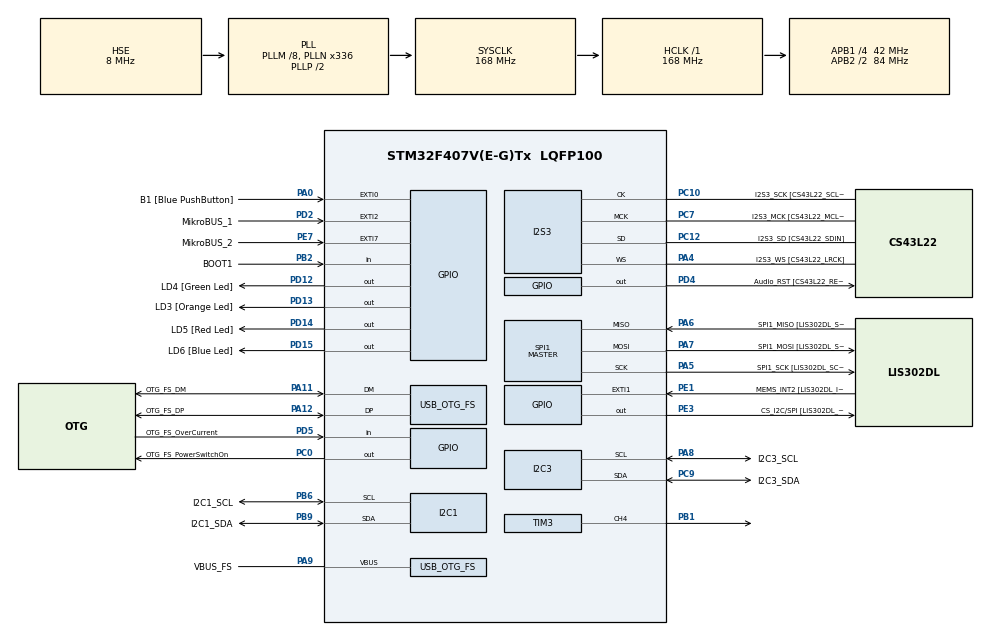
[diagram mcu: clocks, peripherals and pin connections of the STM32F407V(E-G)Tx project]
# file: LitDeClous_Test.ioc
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I2S3.AudioFreq-Half_Duplex_Master=I2S_AUDIOFREQ_96K
I2S3.ErrorAudioFreq=-2.34 %
I2S3.ErrorAudioFreq-Half_Duplex_Master=0.8 %
I2S3.FullDuplexMode=I2S_FULLDUPLEXMODE_DISABLE
I2S3.Instance=SPI$Index
I2S3.RealAudioFreq=93.75 KHz
I2S3.RealAudioFreq-Half_Duplex_Master=96.774 KHz
I2S3.VirtualMode=I2S_MODE_MASTER
Mcu.Family=STM32F4
Mcu.Name=STM32F407V(E-G)Tx
Mcu.Package=LQFP100
NVIC.EXTI2_IRQn=true\:0\:0\:false\:false\:true\:true\:true\:true
NVIC.EXTI9_5_IRQn=true\:0\:0\:false\:false\:true\:true\:true\:true
NVIC.OTG_FS_IRQn=true\:0\:0\:false\:false\:true\:true\:true\:true
NVIC.PriorityGroup=NVIC_PRIORITYGROUP_0
PA0-WKUP.GPIO_Label=B1 [Blue PushButton]
PA0-WKUP.GPIO_ModeDefaultEXTI=GPIO_MODE_EVT_RISING
PA0-WKUP.GPIO_PuPd=GPIO_NOPULL
PA0-WKUP.Signal=GPXTI0
PA10.GPIO_Label=OTG_FS_ID
PA10.GPIO_Mode=GPIO_MODE_AF_PP
PA10.GPIO_PuPd=GPIO_NOPULL
PA10.GPIO_Speed=GPIO_SPEED_FREQ_LOW
PA10.Signal=USB_OTG_FS_ID
PA11.GPIO_Label=OTG_FS_DM
PA11.GPIO_Mode=GPIO_MODE_AF_PP
PA11.GPIO_PuPd=GPIO_NOPULL
PA11.GPIO_Speed=GPIO_SPEED_FREQ_LOW
PA11.Mode=Device_Only
PA11.Signal=USB_OTG_FS_DM
PA12.GPIO_Label=OTG_FS_DP
PA12.GPIO_Mode=GPIO_MODE_AF_PP
PA12.GPIO_PuPd=GPIO_NOPULL
PA12.GPIO_Speed=GPIO_SPEED_FREQ_LOW
PA12.Mode=Device_Only
PA12.Signal=USB_OTG_FS_DP
PA13.GPIO_Label=SWDIO
PA13.Mode=Serial_Wire
PA13.Signal=SYS_JTMS-SWDIO
PA14.GPIO_Label=SWCLK
PA14.Mode=Serial_Wire
PA14.Signal=SYS_JTCK-SWCLK
PA4.GPIO_Label=I2S3_WS [CS43L22_LRCK]
PA4.GPIO_Mode=GPIO_MODE_AF_PP
PA4.GPIO_PuPd=GPIO_NOPULL
PA4.GPIO_Speed=GPIO_SPEED_FREQ_LOW
PA4.Mode=Half_Duplex_Master
PA4.Signal=I2S3_WS
PA5.GPIO_Label=SPI1_SCK [LIS302DL_SCL/SPC]
PA5.GPIO_Mode=GPIO_MODE_AF_PP
PA5.GPIO_PuPd=GPIO_NOPULL
PA5.GPIO_Speed=GPIO_SPEED_FREQ_LOW
PA5.Mode=Full_Duplex_Master
PA5.Signal=SPI1_SCK
PA6.GPIO_Label=SPI1_MISO [LIS302DL_SDO]
PA6.GPIO_Mode=GPIO_MODE_AF_PP
PA6.GPIO_PuPd=GPIO_NOPULL
PA6.GPIO_Speed=GPIO_SPEED_FREQ_LOW
PA6.Mode=Full_Duplex_Master
PA6.Signal=SPI1_MISO
PA7.GPIO_Label=SPI1_MOSI [LIS302DL_SDA/SDI/SDO]
PA7.GPIO_Mode=GPIO_MODE_AF_PP
PA7.GPIO_PuPd=GPIO_NOPULL
PA7.GPIO_Speed=GPIO_SPEED_FREQ_LOW
PA7.Mode=Full_Duplex_Master
PA7.Signal=SPI1_MOSI
PA8.GPIO_Label=I2C3_SCL
PA8.GPIO_Pu=GPIO_NOPULL
PA8.GPIO_Speed=GPIO_SPEED_FREQ_LOW
PA8.Mode=I2C
PA8.Signal=I2C3_SCL
PA9.GPIO_Label=VBUS_FS
PA9.GPIO_Mode=GPIO_MODE_INPUT
PA9.GPIO_PuPd=GPIO_NOPULL
PA9.Mode=Activate_VBUS
PA9.Signal=USB_OTG_FS_VBUS
PB1.Signal=S_TIM3_CH4
PB10.GPIO_Label=CLK_IN [MP45DT02_CLK]
PB10.GPIO_Mode=GPIO_MODE_AF_PP
PB10.GPIO_PuPd=GPIO_NOPULL
PB10.GPIO_Speed=GPIO_SPEED_FREQ_LOW
PB10.Signal=I2S2_CK
PB2.GPIO_Label=BOOT1
PB2.GPIO_Mode=GPIO_MODE_INPUT
PB2.GPIO_PuPd=GPIO_NOPULL
PB2.Signal=GPIO_Input
PB3.GPIO_Label=SWO
PB3.Signal=SYS_JTDO-SWO
PB6.GPIO_Label=I2C1_SCL
PB6.GPIO_Mode=GPIO_MODE_AF_OD
PB6.GPIO_Pu=GPIO_NOPULL
PB6.GPIO_PuPd=GPIO_NOPULL
PB6.GPIO_Speed=GPIO_SPEED_FREQ_LOW
PB6.Mode=I2C
PB6.Signal=I2C1_SCL
PB9.GPIO_Label=I2C1_SDA
PB9.GPIO_Mode=GPIO_MODE_AF_OD
PB9.GPIO_Pu=GPIO_NOPULL
PB9.GPIO_PuPd=GPIO_NOPULL
PB9.GPIO_Speed=GPIO_SPEED_FREQ_LOW
PB9.Mode=I2C
PB9.Signal=I2C1_SDA
PC0.GPIO_Label=OTG_FS_PowerSwitchOn
PC0.GPIO_PuPd=GPIO_NOPULL
PC0.GPIO_Speed=GPIO_SPEED_FREQ_LOW
PC0.PinState=GPIO_PIN_SET
PC0.Signal=GPIO_Output
PC10.GPIO_Label=I2S3_SCK [CS43L22_SCLK]
PC10.GPIO_Mode=GPIO_MODE_AF_PP
PC10.GPIO_PuPd=GPIO_NOPULL
PC10.GPIO_Speed=GPIO_SPEED_FREQ_LOW
PC10.Mode=Half_Duplex_Master
PC10.Signal=I2S3_CK
PC12.GPIO_Label=I2S3_SD [CS43L22_SDIN]
PC12.GPIO_Mode=GPIO_MODE_AF_PP
PC12.GPIO_PuPd=GPIO_NOPULL
PC12.GPIO_Speed=GPIO_SPEED_FREQ_LOW
PC12.Mode=Half_Duplex_Master
PC12.Signal=I2S3_SD
PC14-OSC32_IN.GPIO_Label=PC14-OSC32_IN
PC14-OSC32_IN.Mode=LSE-External-Oscillator
PC14-OSC32_IN.Signal=RCC_OSC32_IN
PC15-OSC32_OUT.GPIO_Label=PC15-OSC32_OUT
PC15-OSC32_OUT.Mode=LSE-External-Oscillator
PC15-OSC32_OUT.Signal=RCC_OSC32_OUT
PC3.GPIO_Label=PDM_OUT [MP45DT02_DOUT]
PC3.GPIO_Mode=GPIO_MODE_AF_PP
PC3.GPIO_PuPd=GPIO_NOPULL
PC3.GPIO_Speed=GPIO_SPEED_FREQ_LOW
PC3.Signal=I2S2_SD
PC7.GPIO_Label=I2S3_MCK [CS43L22_MCLK]
PC7.GPIO_Mode=GPIO_MODE_AF_PP
PC7.GPIO_PuPd=GPIO_NOPULL
PC7.GPIO_Speed=GPIO_SPEED_FREQ_LOW
PC7.Mode=Master_Clock_Activated
PC7.Signal=I2S3_MCK
PC9.GPIO_Label=I2C3_SDA
PC9.GPIO_Speed=GPIO_SPEED_FREQ_LOW
PC9.Mode=I2C
PC9.Signal=I2C3_SDA
PD12.GPIO_Label=LD4 [Green Led]
PD12.GPIO_PuPd=GPIO_NOPULL
PD12.GPIO_Speed=GPIO_SPEED_FREQ_LOW
PD12.Signal=GPIO_Output
PD13.GPIO_Label=LD3 [Orange Led]
PD13.GPIO_PuPd=GPIO_NOPULL
PD13.GPIO_Speed=GPIO_SPEED_FREQ_LOW
PD13.Signal=GPIO_Output
PD14.GPIO_Label=LD5 [Red Led]
PD14.GPIO_PuPd=GPIO_NOPULL
PD14.GPIO_Speed=GPIO_SPEED_FREQ_LOW
PD14.Signal=GPIO_Output
PD15.GPIO_Label=LD6 [Blue Led]
PD15.GPIO_PuPd=GPIO_NOPULL
PD15.GPIO_Speed=GPIO_SPEED_FREQ_LOW
PD15.Signal=GPIO_Output
PD2.GPIO_Label=MikroBUS_1
PD2.GPIO_ModeDefaultEXTI=GPIO_MODE_IT_FALLING
PD2.Signal=GPXTI2
PD4.GPIO_Label=Audio_RST [CS43L22_RESET]
PD4.GPIO_PuPd=GPIO_NOPULL
PD4.GPIO_Speed=GPIO_SPEED_FREQ_LOW
PD4.Signal=GPIO_Output
PD5.GPIO_Label=OTG_FS_OverCurrent
PD5.GPIO_Mode=GPIO_MODE_INPUT
PD5.GPIO_PuPd=GPIO_NOPULL
PD5.Signal=GPIO_Input
PE1.GPIO_Label=MEMS_INT2 [LIS302DL_INT2]
PE1.GPIO_ModeDefaultEXTI=GPIO_MODE_EVT_RISING
PE1.GPIO_PuPd=GPIO_NOPULL
PE1.Signal=GPXTI1
PE3.GPIO_Label=CS_I2C/SPI [LIS302DL_CS_I2C/SPI]
PE3.GPIO_PuPd=GPIO_NOPULL
PE3.GPIO_Speed=GPIO_SPEED_FREQ_LOW
PE3.Signal=GPIO_Output
PE7.GPIO_Label=MikroBUS_2
PE7.GPIO_ModeDefaultEXTI=GPIO_MODE_IT_FALLING
PE7.Signal=GPXTI7
PH0-OSC_IN.GPIO_Label=PH0-OSC_IN
PH0-OSC_IN.Mode=HSE-External-Oscillator
PH0-OSC_IN.Signal=RCC_OSC_IN
PH1-OSC_OUT.GPIO_Label=PH1-OSC_OUT
PH1-OSC_OUT.Mode=HSE-External-Oscillator
PH1-OSC_OUT.Signal=RCC_OSC_OUT
ProjectManager.HeapSize=0x200
ProjectManager.StackSize=0x400
ProjectManager.TargetToolchain=STM32CubeIDE
RCC.48MHZClocksFreq_Value=48000000
RCC.AHBFreq_Value=168000000
RCC.APB1CLKDivider=RCC_HCLK_DIV4
RCC.APB1Freq_Value=42000000
RCC.APB1TimFreq_Value=84000000
RCC.APB2CLKDivider=RCC_HCLK_DIV2
RCC.APB2Freq_Value=84000000
RCC.APB2TimFreq_Value=168000000
RCC.CortexFreq_Value=168000000
RCC.HCLKFreq_Value=168000000
RCC.HSE_VALUE=8000000
RCC.HSI_VALUE=16000000
RCC.PLLM=8
RCC.PLLN=336
RCC.PLLQ=7
RCC.SYSCLKFreq_VALUE=168000000
RCC.SYSCLKSource=RCC_SYSCLKSOURCE_PLLCLK
RCC.VCOOutputFreq_Value=336000000
SH.S_TIM3_CH4.0=TIM3_CH4,PWM Generation4 CH4
SPI1.BaudRatePrescaler-Full_Duplex_Master=SPI_BAUDRATEPRESCALER_2
SPI1.CalculateBaudRate-Full_Duplex_Master=42.0 MBits/s
SPI1.Direction=SPI_DIRECTION_2LINES
SPI1.Mode=SPI_MODE_MASTER
SPI1.Mode-Full_Duplex_Master=SPI_MODE_MASTER
SPI1.VirtualType=VM_MASTER
TIM3.Channel-PWM\ Generation4\ CH4=TIM_CHANNEL_4
TIM3.Period=999
TIM3.Prescaler=83
TIM3.Pulse-PWM\ Generation4\ CH4=500
USB_DEVICE.CLASS_NAME_FS=CDC
USB_DEVICE.VirtualMode-CDC_FS=Cdc
USB_DEVICE.VirtualModeFS=Cdc_FS
USB_OTG_FS.VirtualMode=Device_Only
VP_TIM3_VS_ClockSourceINT.Mode=Internal
VP_USB_DEVICE_VS_USB_DEVICE_CDC_FS.Mode=CDC_FS
board=STM32F407G-DISC1

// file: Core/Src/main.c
/* USER CODE BEGIN Header */
/**
  ******************************************************************************
  * @file           : main.c
  * @brief          : Main program body
  ******************************************************************************
  * @attention
  *
  * Copyright (c) 2026 STMicroelectronics.
  * All rights reserved.
  *
  * This software is licensed under terms that can be found in the LICENSE file
  * in the root directory of this software component.
  * If no LICENSE file comes with this software, it is provided AS-IS.
  *
  ******************************************************************************
  */
/* USER CODE END Header */
#include "main.h"
#include "usb_device.h"

/* USER CODE BEGIN Includes */
#include "usbd_cdc_if.h"
#include <string.h>
#include "command_handler.h"
#include "tca6416a.h"
#include "clickboard_io_mux.h"
#include "mcp3423.h"

/* USER CODE END Includes */

I2C_HandleTypeDef hi2c1;
I2C_HandleTypeDef hi2c3;

I2S_HandleTypeDef hi2s3;

SPI_HandleTypeDef hspi1;

TIM_HandleTypeDef htim3;

/* USER CODE BEGIN PV */
uint8_t rx_buffer[64];
uint32_t rx_length = 0;

volatile uint8_t tca_pwm_interrupt = 0;

TCA6416A_HandleTypeDef tca_adc;
ClickBoard_HandleTypeDef clickboard_pwm;
ClickBoard_HandleTypeDef clickboard_adc;
MCP3423_HandleTypeDef mcp3423_adc;

int32_t adc_raw = 0;
HAL_StatusTypeDef adc_status = HAL_ERROR;

/* USER CODE END PV */

void SystemClock_Config(void);
static void MX_GPIO_Init(void);
static void MX_I2C1_Init(void);
static void MX_I2S3_Init(void);
static void MX_SPI1_Init(void);
static void MX_I2C3_Init(void);
static void MX_TIM3_Init(void);

/* USER CODE BEGIN 0 */

HAL_StatusTypeDef PWM_SetFrequency(uint32_t frequency)
{
    if (frequency < 1 || frequency > 10000)
    {
        return HAL_ERROR;
    }

    const uint32_t timer_clock = 84000000;
    const uint32_t timer_tick = 100000;

    uint32_t prescaler = (timer_clock / timer_tick) - 1;
    uint32_t period = (timer_tick / frequency) - 1;

    uint32_t old_period = __HAL_TIM_GET_AUTORELOAD(&htim3);
    uint32_t old_pulse = __HAL_TIM_GET_COMPARE(&htim3, TIM_CHANNEL_4);

    uint32_t new_pulse =
        (uint32_t)(((uint64_t)old_pulse * (period + 1)) /
                   (old_period + 1));

    __HAL_TIM_DISABLE(&htim3);

    __HAL_TIM_SET_PRESCALER(&htim3, prescaler);
    __HAL_TIM_SET_AUTORELOAD(&htim3, period);
    __HAL_TIM_SET_COMPARE(&htim3, TIM_CHANNEL_4, new_pulse);
    __HAL_TIM_SET_COUNTER(&htim3, 0);

    HAL_TIM_GenerateEvent(&htim3, TIM_EVENTSOURCE_UPDATE);

    __HAL_TIM_ENABLE(&htim3);

    return HAL_OK;
}

/* USER CODE END 0 */

int main(void)
{

  /* MCU Configuration--------------------------------------------------------*/

  /* Reset of all peripherals, Initializes the Flash interface and the Systick. */
  HAL_Init();

  /* Configure the system clock */
  SystemClock_Config();

  /* Initialize all configured peripherals */
  MX_GPIO_Init();
  MX_I2C1_Init();
  MX_I2S3_Init();
  MX_SPI1_Init();
  MX_USB_DEVICE_Init();
  MX_I2C3_Init();
  MX_TIM3_Init();
  /* USER CODE BEGIN 2 */

  // Initialiser le TCA6416A de la carte ADC (I2C1)
  if (TCA6416A_Init(&tca_adc, &hi2c1, TCA6416A_ADDR_ADC) == HAL_OK)
  {
      // LED verte : carte ADC détectée
      HAL_GPIO_WritePin(GPIOD, GPIO_PIN_12, GPIO_PIN_SET);
  }

  // Associer le TCA6416A au multiplexeur ADC
  clickboard_adc.tca = tca_adc;

  // Désactiver le multiplexeur avant la configuration
  TCA6416A_WritePin(&clickboard_adc.tca, 11, 1);

  // Configurer P1.0 à P1.3 comme sorties
  for (uint8_t pin = 8; pin <= 11; pin++)
  {
      TCA6416A_PinMode(&clickboard_adc.tca, pin, TCA6416A_OUTPUT);
  }

  // Laisser le TMUX1308 désactivé
  ClickBoard_DisableMux(&clickboard_adc);

  // Initialiser la carte PWM (I2C3)
  if (ClickBoard_InitPWM(&clickboard_pwm, &hi2c3) == HAL_OK)
  {
      // LED orange : carte PWM initialisée
      HAL_GPIO_WritePin(GPIOD, GPIO_PIN_13, GPIO_PIN_SET);

      // Sélectionner S7 et activer le TMUX1308
      if (ClickBoard_SelectChannel(&clickboard_pwm, 7) == HAL_OK)
      {
          // Démarrer le PWM sur PB1 (TIM3_CH4)
          HAL_TIM_PWM_Start(&htim3, TIM_CHANNEL_4);

          // Désactiver le multiplexeur
          //ClickBoard_DisableMux(&clickboard_pwm);
      }
  }

  uint8_t gpio_state;

  TCA6416A_ReadPort(&clickboard_pwm.tca, 0, &gpio_state);

  // Configurer P0.1 comme sortie
  if (TCA6416A_PinMode(&clickboard_pwm.tca, 1, TCA6416A_OUTPUT) == HAL_OK)
  {
      // Mettre P0.1 à l'état haut (3,3 V)
      TCA6416A_WritePin(&clickboard_pwm.tca, 1, 1);
  }

  // Initialiser le MCP3423 de la ClickBoard ADC (I2C1)
  if (MCP3423_Init(&mcp3423_adc, &hi2c1) == HAL_OK)
  {
      if (MCP3423_Configure(
              &mcp3423_adc,
              MCP3423_CHANNEL_1,
			  MCP3423_MODE_ONESHOT,
              MCP3423_RESOLUTION_18BIT) == HAL_OK)
      {
          // LED rouge : MCP3423 initialisé et configuré
          HAL_GPIO_WritePin(GPIOD, GPIO_PIN_14, GPIO_PIN_SET);
      }
  }

  // Attendre la première conversion (12 bits)
  HAL_Delay(20);

  // Lire la valeur brute du MCP3423
  adc_status = MCP3423_ReadRaw(&mcp3423_adc, &adc_raw);

  /* USER CODE END 2 */

  /* Infinite loop */
  /* USER CODE BEGIN WHILE */
  while (1)
  {
	  CommandHandler_Task();

	  if (!CommandHandler_IsResponsePending())
	  {
	      if (USB_ReadCommand(rx_buffer, &rx_length))
	      {
	          CommandHandler_Process(rx_buffer, rx_length);
	      }
	  }

	  if (tca_pwm_interrupt)
	  {
	      tca_pwm_interrupt = 0;

	      uint8_t gpio_state;

	      if (TCA6416A_ReadPort(&clickboard_pwm.tca, 0, &gpio_state) == HAL_OK)
	      {
	          // LED bleue allumée si P0.0 est à 0
	          if ((gpio_state & 0x01) == 0)
	          {
	              HAL_GPIO_WritePin(GPIOD, GPIO_PIN_15, GPIO_PIN_SET);
	          }
	          else
	          {
	              HAL_GPIO_WritePin(GPIOD, GPIO_PIN_15, GPIO_PIN_RESET);
	          }
	      }
	  }

	  HAL_Delay(1);

    /* USER CODE END WHILE */

  }
}

void SystemClock_Config(void)
{
  RCC_OscInitTypeDef RCC_OscInitStruct = {0};
  RCC_ClkInitTypeDef RCC_ClkInitStruct = {0};

  /** Configure the main internal regulator output voltage
  */
  __HAL_RCC_PWR_CLK_ENABLE();
  __HAL_PWR_VOLTAGESCALING_CONFIG(PWR_REGULATOR_VOLTAGE_SCALE1);

  /** Initializes the RCC Oscillators according to the specified parameters
  * in the RCC_OscInitTypeDef structure.
  */
  RCC_OscInitStruct.OscillatorType = RCC_OSCILLATORTYPE_HSE;
  RCC_OscInitStruct.HSEState = RCC_HSE_ON;
  RCC_OscInitStruct.PLL.PLLState = RCC_PLL_ON;
  RCC_OscInitStruct.PLL.PLLSource = RCC_PLLSOURCE_HSE;
  RCC_OscInitStruct.PLL.PLLM = 8;
  RCC_OscInitStruct.PLL.PLLN = 336;
  RCC_OscInitStruct.PLL.PLLP = RCC_PLLP_DIV2;
  RCC_OscInitStruct.PLL.PLLQ = 7;
  if (HAL_RCC_OscConfig(&RCC_OscInitStruct) != HAL_OK)
  {
    Error_Handler();
  }

  /** Initializes the CPU, AHB and APB buses clocks
  */
  RCC_ClkInitStruct.ClockType = RCC_CLOCKTYPE_HCLK|RCC_CLOCKTYPE_SYSCLK
                              |RCC_CLOCKTYPE_PCLK1|RCC_CLOCKTYPE_PCLK2;
  RCC_ClkInitStruct.SYSCLKSource = RCC_SYSCLKSOURCE_PLLCLK;
  RCC_ClkInitStruct.AHBCLKDivider = RCC_SYSCLK_DIV1;
  RCC_ClkInitStruct.APB1CLKDivider = RCC_HCLK_DIV4;
  RCC_ClkInitStruct.APB2CLKDivider = RCC_HCLK_DIV2;

  if (HAL_RCC_ClockConfig(&RCC_ClkInitStruct, FLASH_LATENCY_5) != HAL_OK)
  {
    Error_Handler();
  }
}

static void MX_I2C1_Init(void)
{

  hi2c1.Instance = I2C1;
  hi2c1.Init.ClockSpeed = 100000;
  hi2c1.Init.DutyCycle = I2C_DUTYCYCLE_2;
  hi2c1.Init.OwnAddress1 = 0;
  hi2c1.Init.AddressingMode = I2C_ADDRESSINGMODE_7BIT;
  hi2c1.Init.DualAddressMode = I2C_DUALADDRESS_DISABLE;
  hi2c1.Init.OwnAddress2 = 0;
  hi2c1.Init.GeneralCallMode = I2C_GENERALCALL_DISABLE;
  hi2c1.Init.NoStretchMode = I2C_NOSTRETCH_DISABLE;
  if (HAL_I2C_Init(&hi2c1) != HAL_OK)
  {
    Error_Handler();
  }

}

static void MX_I2C3_Init(void)
{

  hi2c3.Instance = I2C3;
  hi2c3.Init.ClockSpeed = 100000;
  hi2c3.Init.DutyCycle = I2C_DUTYCYCLE_2;
  hi2c3.Init.OwnAddress1 = 0;
  hi2c3.Init.AddressingMode = I2C_ADDRESSINGMODE_7BIT;
  hi2c3.Init.DualAddressMode = I2C_DUALADDRESS_DISABLE;
  hi2c3.Init.OwnAddress2 = 0;
  hi2c3.Init.GeneralCallMode = I2C_GENERALCALL_DISABLE;
  hi2c3.Init.NoStretchMode = I2C_NOSTRETCH_DISABLE;
  if (HAL_I2C_Init(&hi2c3) != HAL_OK)
  {
    Error_Handler();
  }

}

static void MX_I2S3_Init(void)
{

  hi2s3.Instance = SPI3;
  hi2s3.Init.Mode = I2S_MODE_MASTER_TX;
  hi2s3.Init.Standard = I2S_STANDARD_PHILIPS;
  hi2s3.Init.DataFormat = I2S_DATAFORMAT_16B;
  hi2s3.Init.MCLKOutput = I2S_MCLKOUTPUT_ENABLE;
  hi2s3.Init.AudioFreq = I2S_AUDIOFREQ_96K;
  hi2s3.Init.CPOL = I2S_CPOL_LOW;
  hi2s3.Init.ClockSource = I2S_CLOCK_PLL;
  hi2s3.Init.FullDuplexMode = I2S_FULLDUPLEXMODE_DISABLE;
  if (HAL_I2S_Init(&hi2s3) != HAL_OK)
  {
    Error_Handler();
  }

}

static void MX_SPI1_Init(void)
{

  /* SPI1 parameter configuration*/
  hspi1.Instance = SPI1;
  hspi1.Init.Mode = SPI_MODE_MASTER;
  hspi1.Init.Direction = SPI_DIRECTION_2LINES;
  hspi1.Init.DataSize = SPI_DATASIZE_8BIT;
  hspi1.Init.CLKPolarity = SPI_POLARITY_LOW;
  hspi1.Init.CLKPhase = SPI_PHASE_1EDGE;
  hspi1.Init.NSS = SPI_NSS_SOFT;
  hspi1.Init.BaudRatePrescaler = SPI_BAUDRATEPRESCALER_2;
  hspi1.Init.FirstBit = SPI_FIRSTBIT_MSB;
  hspi1.Init.TIMode = SPI_TIMODE_DISABLE;
  hspi1.Init.CRCCalculation = SPI_CRCCALCULATION_DISABLE;
  hspi1.Init.CRCPolynomial = 10;
  if (HAL_SPI_Init(&hspi1) != HAL_OK)
  {
    Error_Handler();
  }

}

static void MX_TIM3_Init(void)
{

  TIM_ClockConfigTypeDef sClockSourceConfig = {0};
  TIM_MasterConfigTypeDef sMasterConfig = {0};
  TIM_OC_InitTypeDef sConfigOC = {0};

  htim3.Instance = TIM3;
  htim3.Init.Prescaler = 83;
  htim3.Init.CounterMode = TIM_COUNTERMODE_UP;
  htim3.Init.Period = 999;
  htim3.Init.ClockDivision = TIM_CLOCKDIVISION_DIV1;
  htim3.Init.AutoReloadPreload = TIM_AUTORELOAD_PRELOAD_DISABLE;
  if (HAL_TIM_Base_Init(&htim3) != HAL_OK)
  {
    Error_Handler();
  }
  sClockSourceConfig.ClockSource = TIM_CLOCKSOURCE_INTERNAL;
  if (HAL_TIM_ConfigClockSource(&htim3, &sClockSourceConfig) != HAL_OK)
  {
    Error_Handler();
  }
  if (HAL_TIM_PWM_Init(&htim3) != HAL_OK)
  {
    Error_Handler();
  }
  sMasterConfig.MasterOutputTrigger = TIM_TRGO_RESET;
  sMasterConfig.MasterSlaveMode = TIM_MASTERSLAVEMODE_DISABLE;
  if (HAL_TIMEx_MasterConfigSynchronization(&htim3, &sMasterConfig) != HAL_OK)
  {
    Error_Handler();
  }
  sConfigOC.OCMode = TIM_OCMODE_PWM1;
  sConfigOC.Pulse = 500;
  sConfigOC.OCPolarity = TIM_OCPOLARITY_HIGH;
  sConfigOC.OCFastMode = TIM_OCFAST_DISABLE;
  if (HAL_TIM_PWM_ConfigChannel(&htim3, &sConfigOC, TIM_CHANNEL_4) != HAL_OK)
  {
    Error_Handler();
  }
  HAL_TIM_MspPostInit(&htim3);

}

static void MX_GPIO_Init(void)
{
  GPIO_InitTypeDef GPIO_InitStruct = {0};

  /* GPIO Ports Clock Enable */
  __HAL_RCC_GPIOE_CLK_ENABLE();
  __HAL_RCC_GPIOC_CLK_ENABLE();
  __HAL_RCC_GPIOH_CLK_ENABLE();
  __HAL_RCC_GPIOA_CLK_ENABLE();
  __HAL_RCC_GPIOB_CLK_ENABLE();
  __HAL_RCC_GPIOD_CLK_ENABLE();

  /*Configure GPIO pin Output Level */
  HAL_GPIO_WritePin(CS_I2C_SPI_GPIO_Port, CS_I2C_SPI_Pin, GPIO_PIN_RESET);

  /*Configure GPIO pin Output Level */
  HAL_GPIO_WritePin(OTG_FS_PowerSwitchOn_GPIO_Port, OTG_FS_PowerSwitchOn_Pin, GPIO_PIN_SET);

  /*Configure GPIO pin Output Level */
  HAL_GPIO_WritePin(GPIOD, LD4_Pin|LD3_Pin|LD5_Pin|LD6_Pin
                          |Audio_RST_Pin, GPIO_PIN_RESET);

  /*Configure GPIO pin : CS_I2C_SPI_Pin */
  GPIO_InitStruct.Pin = CS_I2C_SPI_Pin;
  GPIO_InitStruct.Mode = GPIO_MODE_OUTPUT_PP;
  GPIO_InitStruct.Pull = GPIO_NOPULL;
  GPIO_InitStruct.Speed = GPIO_SPEED_FREQ_LOW;
  HAL_GPIO_Init(CS_I2C_SPI_GPIO_Port, &GPIO_InitStruct);

  /*Configure GPIO pin : OTG_FS_PowerSwitchOn_Pin */
  GPIO_InitStruct.Pin = OTG_FS_PowerSwitchOn_Pin;
  GPIO_InitStruct.Mode = GPIO_MODE_OUTPUT_PP;
  GPIO_InitStruct.Pull = GPIO_NOPULL;
  GPIO_InitStruct.Speed = GPIO_SPEED_FREQ_LOW;
  HAL_GPIO_Init(OTG_FS_PowerSwitchOn_GPIO_Port, &GPIO_InitStruct);

  /*Configure GPIO pin : PDM_OUT_Pin */
  GPIO_InitStruct.Pin = PDM_OUT_Pin;
  GPIO_InitStruct.Mode = GPIO_MODE_AF_PP;
  GPIO_InitStruct.Pull = GPIO_NOPULL;
  GPIO_InitStruct.Speed = GPIO_SPEED_FREQ_LOW;
  GPIO_InitStruct.Alternate = GPIO_AF5_SPI2;
  HAL_GPIO_Init(PDM_OUT_GPIO_Port, &GPIO_InitStruct);

  /*Configure GPIO pin : B1_Pin */
  GPIO_InitStruct.Pin = B1_Pin;
  GPIO_InitStruct.Mode = GPIO_MODE_EVT_RISING;
  GPIO_InitStruct.Pull = GPIO_NOPULL;
  HAL_GPIO_Init(B1_GPIO_Port, &GPIO_InitStruct);

  /*Configure GPIO pin : BOOT1_Pin */
  GPIO_InitStruct.Pin = BOOT1_Pin;
  GPIO_InitStruct.Mode = GPIO_MODE_INPUT;
  GPIO_InitStruct.Pull = GPIO_NOPULL;
  HAL_GPIO_Init(BOOT1_GPIO_Port, &GPIO_InitStruct);

  /*Configure GPIO pin : MikroBUS_2_Pin */
  GPIO_InitStruct.Pin = MikroBUS_2_Pin;
  GPIO_InitStruct.Mode = GPIO_MODE_IT_FALLING;
  GPIO_InitStruct.Pull = GPIO_NOPULL;
  HAL_GPIO_Init(MikroBUS_2_GPIO_Port, &GPIO_InitStruct);

  /*Configure GPIO pin : CLK_IN_Pin */
  GPIO_InitStruct.Pin = CLK_IN_Pin;
  GPIO_InitStruct.Mode = GPIO_MODE_AF_PP;
  GPIO_InitStruct.Pull = GPIO_NOPULL;
  GPIO_InitStruct.Speed = GPIO_SPEED_FREQ_LOW;
  GPIO_InitStruct.Alternate = GPIO_AF5_SPI2;
  HAL_GPIO_Init(CLK_IN_GPIO_Port, &GPIO_InitStruct);

  /*Configure GPIO pins : LD4_Pin LD3_Pin LD5_Pin LD6_Pin
                           Audio_RST_Pin */
  GPIO_InitStruct.Pin = LD4_Pin|LD3_Pin|LD5_Pin|LD6_Pin
                          |Audio_RST_Pin;
  GPIO_InitStruct.Mode = GPIO_MODE_OUTPUT_PP;
  GPIO_InitStruct.Pull = GPIO_NOPULL;
  GPIO_InitStruct.Speed = GPIO_SPEED_FREQ_LOW;
  HAL_GPIO_Init(GPIOD, &GPIO_InitStruct);

  /*Configure GPIO pin : MikroBUS_1_Pin */
  GPIO_InitStruct.Pin = MikroBUS_1_Pin;
  GPIO_InitStruct.Mode = GPIO_MODE_IT_FALLING;
  GPIO_InitStruct.Pull = GPIO_NOPULL;
  HAL_GPIO_Init(MikroBUS_1_GPIO_Port, &GPIO_InitStruct);

  /*Configure GPIO pin : OTG_FS_OverCurrent_Pin */
  GPIO_InitStruct.Pin = OTG_FS_OverCurrent_Pin;
  GPIO_InitStruct.Mode = GPIO_MODE_INPUT;
  GPIO_InitStruct.Pull = GPIO_NOPULL;
  HAL_GPIO_Init(OTG_FS_OverCurrent_GPIO_Port, &GPIO_InitStruct);

  /*Configure GPIO pin : MEMS_INT2_Pin */
  GPIO_InitStruct.Pin = MEMS_INT2_Pin;
  GPIO_InitStruct.Mode = GPIO_MODE_EVT_RISING;
  GPIO_InitStruct.Pull = GPIO_NOPULL;
  HAL_GPIO_Init(MEMS_INT2_GPIO_Port, &GPIO_InitStruct);

  /* EXTI interrupt init*/
  HAL_NVIC_SetPriority(EXTI2_IRQn, 0, 0);
  HAL_NVIC_EnableIRQ(EXTI2_IRQn);

  HAL_NVIC_SetPriority(EXTI9_5_IRQn, 0, 0);
  HAL_NVIC_EnableIRQ(EXTI9_5_IRQn);

}

/* USER CODE BEGIN 4 */
void HAL_GPIO_EXTI_Callback(uint16_t GPIO_Pin)
{
    if (GPIO_Pin == GPIO_PIN_2)
    {
        tca_pwm_interrupt = 1;
    }
}

/* USER CODE END 4 */

void Error_Handler(void)
{
  __disable_irq();
  while (1)
  {
  }
}
